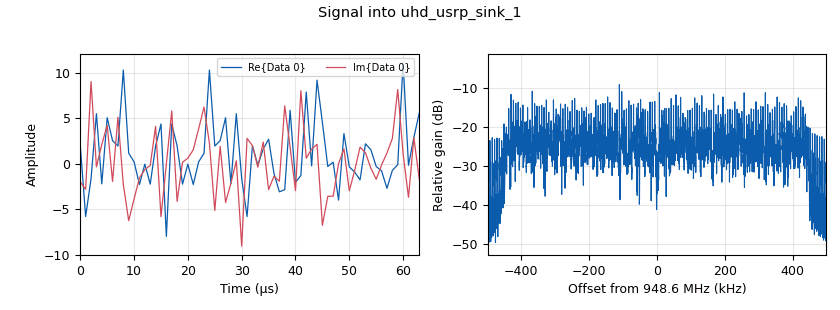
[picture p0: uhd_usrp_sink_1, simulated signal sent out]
<?xml version='1.0' encoding='utf-8'?>
<?grc format='1' created='3.7.10'?>
<flow_graph>
<block>
<key>options</key>
<param><key>id</key><value>vr1_tx_all</value></param>
<param><key>category</key><value>Custom</value></param>
<param><key>description</key><value>Single</value></param>
<param><key>generate_options</key><value>no_gui</value></param>
<param><key>title</key><value>VR1 TX all-in-one</value></param>
</block>
<block>
<key>variable</key>
<param><key>id</key><value>fft_len</value></param>
<param><key>value</key><value>128</value></param>
</block>
<block>
<key>variable_config</key>
<param><key>id</key><value>freq1</value></param>
<param><key>config_file</key><value>./default</value></param>
<param><key>value</key><value>948.6e6</value></param>
<param><key>option</key><value>"txfreq1"</value></param>
<param><key>section</key><value>"usrp_hydra"</value></param>
<param><key>type</key><value>real</value></param>
<param><key>writeback</key><value>None</value></param>
</block>
<block>
<key>variable_config</key>
<param><key>id</key><value>ip</value></param>
<param><key>config_file</key><value>default</value></param>
<param><key>value</key><value>"127.0.0.1"</value></param>
<param><key>option</key><value>"ip"</value></param>
<param><key>section</key><value>"vr1_tx"</value></param>
<param><key>type</key><value>string</value></param>
<param><key>writeback</key><value>None</value></param>
</block>
<block>
<key>variable</key>
<param><key>id</key><value>length_tag_key</value></param>
<param><key>value</key><value>"packet_len"</value></param>
</block>
<block>
<key>variable</key>
<param><key>id</key><value>occupied_carriers</value></param>
<param><key>value</key><value>(sorted(tuple(set([x for x in range(-56,57)]) - set(pilot_carriers[0]) - set([0,]))),)</value></param>
</block>
<block>
<key>variable</key>
<param><key>id</key><value>packet_len</value></param>
<param><key>value</key><value>100</value></param>
</block>
<block>
<key>variable</key>
<param><key>id</key><value>pattern1</value></param>
<param><key>value</key><value>[0., 1.41421356, 0., -1.41421356]</value></param>
</block>
<block>
<key>variable</key>
<param><key>id</key><value>pattern2</value></param>
<param><key>value</key><value>[1, -1, 1, -1]</value></param>
</block>
<block>
<key>variable</key>
<param><key>id</key><value>pilot_carriers</value></param>
<param><key>value</key><value>((-42, -14, -7, 7, 14, 42),)</value></param>
</block>
<block>
<key>variable</key>
<param><key>id</key><value>pilot_symbols</value></param>
<param><key>value</key><value>((-1,1, 1, -1, -1, -1),)</value></param>
</block>
<block>
<key>variable_config</key>
<param><key>id</key><value>samprate</value></param>
<param><key>config_file</key><value>default</value></param>
<param><key>value</key><value>0</value></param>
<param><key>option</key><value>"samprate1"</value></param>
<param><key>section</key><value>"usrp_hydra"</value></param>
<param><key>type</key><value>real</value></param>
<param><key>writeback</key><value>None</value></param>
</block>
<block>
<key>variable_config</key>
<param><key>id</key><value>samprate1</value></param>
<param><key>config_file</key><value>./default</value></param>
<param><key>value</key><value>1e6</value></param>
<param><key>option</key><value>"samprate1"</value></param>
<param><key>section</key><value>"usrp_hydra"</value></param>
<param><key>type</key><value>real</value></param>
<param><key>writeback</key><value>None</value></param>
</block>
<block>
<key>variable</key>
<param><key>id</key><value>sync_word1</value></param>
<param><key>value</key><value>[0., 0., 0., 0., 0., 0.,] + pattern1 * ((fft_len-12)/len(pattern1))  +[0., 0., 0., 0., 0., 0.,] </value></param>
</block>
<block>
<key>variable</key>
<param><key>id</key><value>sync_word2</value></param>
<param><key>value</key><value>[0., 0., 0., 0., 0., 0.,] + pattern2 * ((fft_len-12)/len(pattern2))  +[0., 0., 0., 0., 0., 0.,] </value></param>
</block>
<block>
<key>variable_config</key>
<param><key>id</key><value>txoutport</value></param>
<param><key>config_file</key><value>default</value></param>
<param><key>value</key><value>"2666"</value></param>
<param><key>option</key><value>"port"</value></param>
<param><key>section</key><value>"vr1_tx"</value></param>
<param><key>type</key><value>string</value></param>
<param><key>writeback</key><value>None</value></param>
</block>
<block>
<key>analog_random_source_x</key>
<param><key>id</key><value>analog_random_source_x_0</value></param>
<param><key>max</key><value>5</value></param>
<param><key>min</key><value>0</value></param>
<param><key>num_samps</key><value>1000</value></param>
<param><key>type</key><value>byte</value></param>
<param><key>repeat</key><value>True</value></param>
</block>
<block>
<key>blocks_stream_to_tagged_stream</key>
<param><key>id</key><value>blocks_stream_to_tagged_stream_0</value></param>
<param><key>len_tag_key</key><value>length_tag_key</value></param>
<param><key>packet_len</key><value>packet_len</value></param>
<param><key>type</key><value>byte</value></param>
</block>
<block>
<key>digital_ofdm_tx</key>
<param><key>id</key><value>digital_ofdm_tx_0</value></param>
<param><key>cp_len</key><value>16</value></param>
<param><key>fft_len</key><value>fft_len</value></param>
<param><key>header_mod</key><value>"BPSK"</value></param>
<param><key>packet_len_key</key><value>length_tag_key</value></param>
<param><key>occupied_carriers</key><value>occupied_carriers</value></param>
<param><key>payload_mod</key><value>"BPSK"</value></param>
<param><key>pilot_carriers</key><value>pilot_carriers</value></param>
<param><key>pilot_symbols</key><value>pilot_symbols</value></param>
<param><key>rolloff</key><value>0</value></param>
<param><key>sync_word1</key><value>sync_word1</value></param>
<param><key>sync_word2</key><value>sync_word2</value></param>
</block>
<block>
<key>import</key>
<param><key>id</key><value>import_1</value></param>
<param><key>import</key><value>from gnuradio.digital.utils import tagged_streams</value></param>
</block>
<block>
<key>uhd_usrp_sink</key>
<param><key>id</key><value>uhd_usrp_sink_1</value></param>
<param><key>ant0</key><value>TX/RX</value></param>
<param><key>center_freq0</key><value>freq1</value></param>
<param><key>norm_gain0</key><value>True</value></param>
<param><key>gain0</key><value>1</value></param>
<param><key>clock_rate</key><value>0.0</value></param>
<param><key>dev_args</key><value>""</value></param>
<param><key>type</key><value>fc32</value></param>
<param><key>samp_rate</key><value>1e6</value></param>
<param><key>hide_cmd_port</key><value>False</value></param>
<param><key>hide_lo_controls</key><value>True</value></param>
<param><key>sync</key><value></value></param>
<param><key>len_tag_name</key><value></value></param>
</block>
<connection><source_block_id>analog_random_source_x_0</source_block_id><sink_block_id>blocks_stream_to_tagged_stream_0</sink_block_id><source_key>0</source_key><sink_key>0</sink_key></connection>
<connection><source_block_id>blocks_stream_to_tagged_stream_0</source_block_id><sink_block_id>digital_ofdm_tx_0</sink_block_id><source_key>0</source_key><sink_key>0</sink_key></connection>
<connection><source_block_id>digital_ofdm_tx_0</source_block_id><sink_block_id>uhd_usrp_sink_1</sink_block_id><source_key>0</source_key><sink_key>0</sink_key></connection>
</flow_graph>
